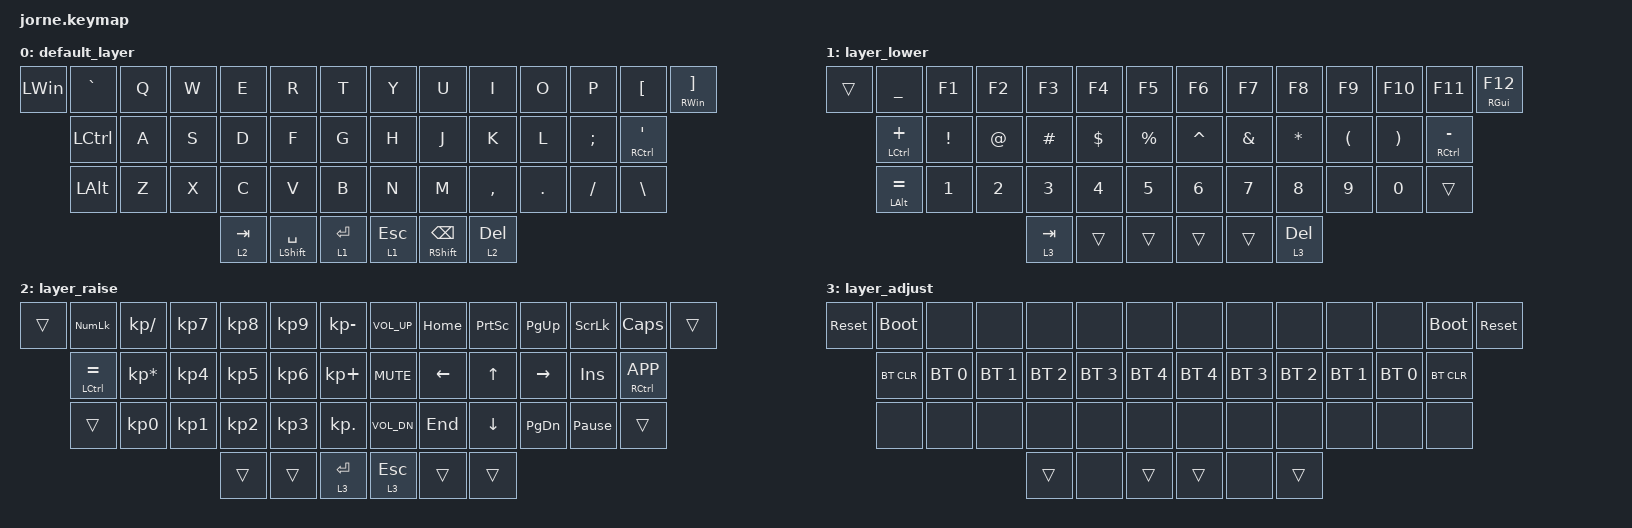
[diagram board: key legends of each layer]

/*
 * Copyright (c) 2020 The ZMK Contributors
 *
 * SPDX-License-Identifier: MIT
 */


/* THIS FILE WAS GENERATED!
 *
 * This file was generated automatically. You may or may not want to
 * edit it directly.
 */

#include <behaviors.dtsi>
#include <dt-bindings/zmk/keys.h>
#include <dt-bindings/zmk/bt.h>

/ {
    keymap {
        compatible = "zmk,keymap";


        default_layer {
            bindings = <
 &kp LWIN  &kp GRAVE   &kp Q   &kp W      &kp E            &kp R      &kp T      &kp Y           &kp U      &kp I    &kp O     &kp P       &kp LBKT  &mt RWIN RBKT
           &kp LCTRL   &kp A   &kp S      &kp D            &kp F      &kp G      &kp H           &kp J      &kp K    &kp L  &kp SEMI  &mt RCTRL SQT
            &kp LALT   &kp Z   &kp X      &kp C            &kp V      &kp B      &kp N           &kp M  &kp COMMA  &kp DOT  &kp FSLH       &kp BSLH
                                      &lt 2 TAB  &mt LSHFT SPACE  &lt 1 RET  &lt 1 ESC  &mt RSHFT BSPC  &lt 2 DEL
            >;
        };

        layer_lower {
            bindings = <
 &trans       &kp UNDER    &kp F1  &kp F2     &kp F3    &kp F4     &kp F5     &kp F6    &kp F7     &kp F8    &kp F9   &kp F10          &kp F11  &mt RGUI F12
         &mt LCTRL PLUS  &kp EXCL  &kp AT   &kp HASH  &kp DLLR  &kp PRCNT  &kp CARET  &kp AMPS   &kp STAR  &kp LPAR  &kp RPAR  &mt RCTRL MINUS
         &mt LALT EQUAL    &kp N1  &kp N2     &kp N3    &kp N4     &kp N5     &kp N6    &kp N7     &kp N8    &kp N9    &kp N0           &trans
                                           &lt 3 TAB    &trans     &trans     &trans    &trans  &lt 3 DEL
            >;
        };

        layer_raise {
            bindings = <
 &trans       &kp KP_NUM     &kp KP_SLASH  &kp KP_N7  &kp KP_N8  &kp KP_N9  &kp KP_MINUS  &kp C_VOL_UP  &kp HOME  &kp PSCRN  &kp PG_UP         &kp SLCK         &kp CAPS  &trans
         &mt LCTRL EQUAL  &kp KP_MULTIPLY  &kp KP_N4  &kp KP_N5  &kp KP_N6   &kp KP_PLUS    &kp C_MUTE  &kp LEFT     &kp UP  &kp RIGHT          &kp INS  &mt RCTRL K_APP
                  &trans        &kp KP_N0  &kp KP_N1  &kp KP_N2  &kp KP_N3    &kp KP_DOT  &kp C_VOL_DN   &kp END   &kp DOWN  &kp PG_DN  &kp PAUSE_BREAK           &trans
                                                         &trans     &trans     &lt 3 RET     &lt 3 ESC    &trans     &trans
            >;
        };

        layer_adjust {
            bindings = <
 &sys_reset  &bootloader         &none         &none         &none         &none         &none         &none         &none         &none         &none         &none  &bootloader  &sys_reset
          &bt BT_CLR  &bt BT_SEL 0  &bt BT_SEL 1  &bt BT_SEL 2  &bt BT_SEL 3  &bt BT_SEL 4  &bt BT_SEL 4  &bt BT_SEL 3  &bt BT_SEL 2  &bt BT_SEL 1  &bt BT_SEL 0   &bt BT_CLR
               &none         &none         &none         &none         &none         &none         &none         &none         &none         &none         &none        &none
                                                        &trans         &none        &trans        &trans         &none        &trans
            >;
        };

    };
};

&pinctrl {
    spi0_default: spi0_default {
        group1 {
            psels = <NRF_PSEL(SPIM_SCK, 0, 12)>,    // SCLK p0.12
                    <NRF_PSEL(SPIM_MOSI, 0, 26)>,   // MOSI p0.26
                    <NRF_PSEL(SPIM_MISO, 0, 5)>;    // MISO p0.05
        };
    };
    spi0_sleep: spi0_sleep {
        group1 {
            psels = <NRF_PSEL(SPIM_SCK, 0, 12)>,
                    <NRF_PSEL(SPIM_MOSI, 0, 26)>,
                    <NRF_PSEL(SPIM_MISO, 0, 5)>;
            low-power-enable;
        };
    };
};
